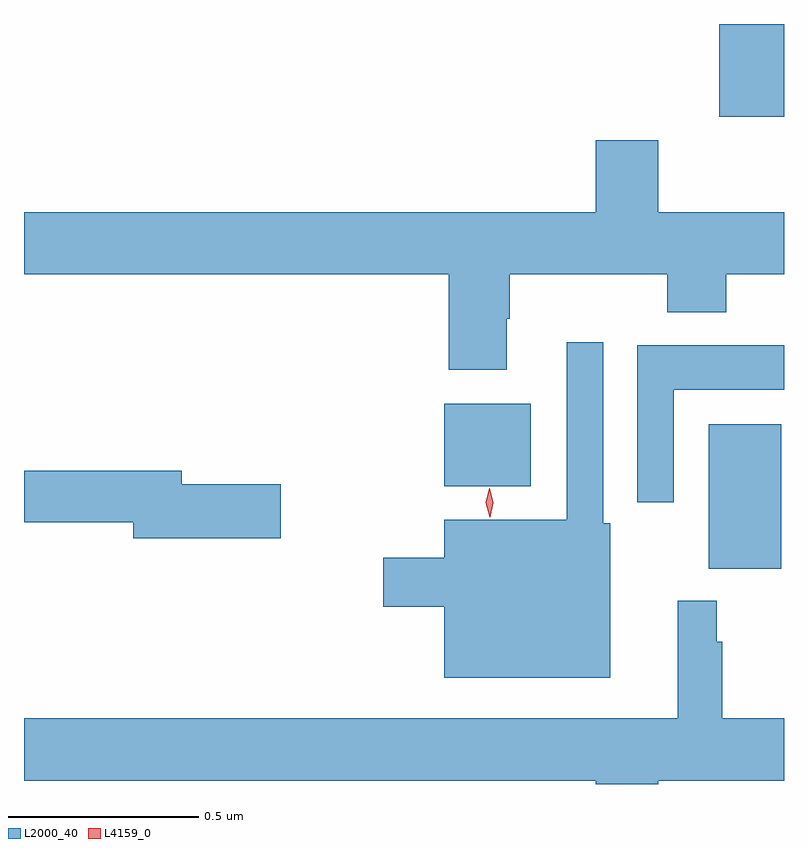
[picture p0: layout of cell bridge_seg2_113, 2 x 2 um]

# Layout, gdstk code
import gdstk
lib = gdstk.Library(unit=1e-6, precision=1e-09)
def R(c, l, rs):  # rectangles x0, y0, x1, y1
    for r in rs: c.add(gdstk.rectangle(r[:2], r[2:], *l))
def P(c, l, *ps):  # polygons
    for p in ps: c.add(gdstk.Polygon(p, *l))
L2000_40 = (2000, 40)
L4159_0 = (4159, 0)

bridge_seg2_113 = lib.new_cell('bridge_seg2_113')
R(bridge_seg2_113, L2000_40, [(488.981,608.234,489.172,608.614), (488.285,608.45,488.512,608.668), (489.008,609.423,489.179,609.667)])
P(bridge_seg2_113, L2000_40, [(488.848,609.361),(488.684,609.361),(488.684,609.172),(487.179,609.172),(487.179,609.008),(488.297,609.008),(488.297,608.757),(488.449,608.757),(488.449,608.891),(488.457,608.891),(488.457,609.008),(488.872,609.008),(488.872,608.909),(489.027,608.909),(489.027,609.008),(489.179,609.008),(489.179,609.172),(488.848,609.172)],
  [(488.722,608.353),(488.703,608.353),(488.703,608.83),(488.607,608.83),(488.607,608.362),(488.285,608.362),(488.285,608.263),(488.124,608.263),(488.124,608.134),(488.285,608.134),(488.285,607.946),(488.722,607.946)],
  [(488.889,608.705),(489.179,608.705),(489.179,608.821),(488.793,608.821),(488.793,608.409),(488.889,608.409)],
  [(487.855,608.456),(487.594,608.456),(487.594,608.492),(487.179,608.492),(487.179,608.356),(487.466,608.356),(487.466,608.314),(487.855,608.314)],
  [(489.179,607.84),(489.017,607.84),(489.017,608.042),(489.002,608.042),(489.002,608.149),(488.9,608.149),(488.9,607.84),(487.179,607.84),(487.179,607.676),(488.684,607.676),(488.684,607.667),(488.848,607.667),(488.848,607.676),(489.179,607.676)])
P(bridge_seg2_113, L4159_0, [(488.405,608.369),(488.405,608.369),(488.394,608.407),(488.403,608.445),(488.403,608.445),(488.404,608.445),(488.414,608.407),(488.406,608.369)])

lib.write_gds('bridge_seg2_113.gds')
